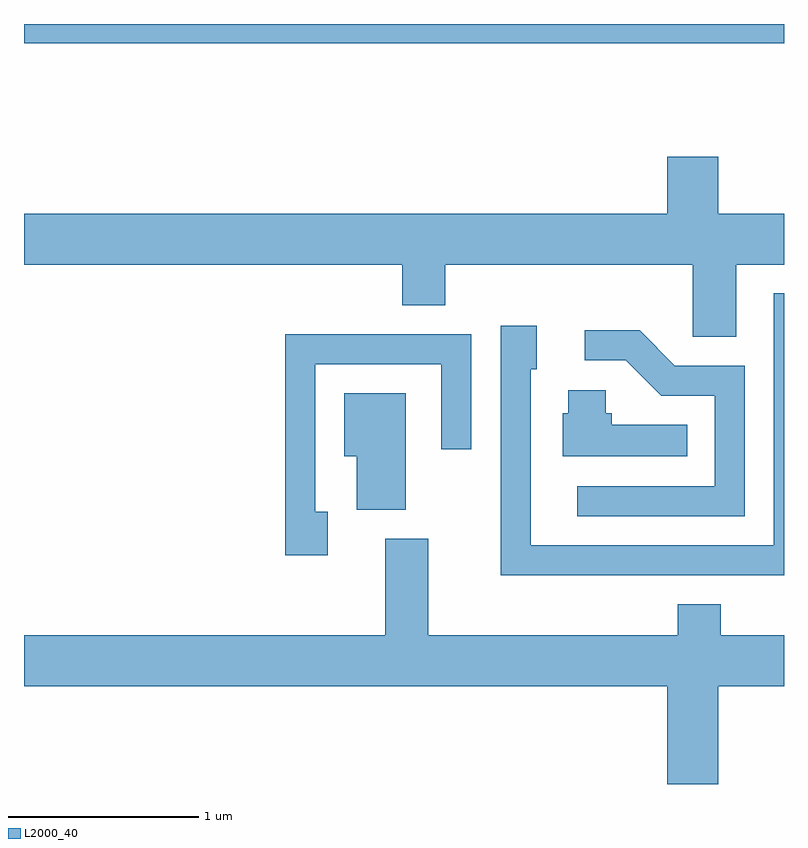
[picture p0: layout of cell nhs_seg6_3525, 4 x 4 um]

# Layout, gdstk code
import gdstk
lib = gdstk.Library(unit=1e-6, precision=1e-09)
def R(c, l, rs):  # rectangles x0, y0, x1, y1
    for r in rs: c.add(gdstk.rectangle(r[:2], r[2:], *l))
def P(c, l, *ps):  # polygons
    for p in ps: c.add(gdstk.Polygon(p, *l))
L2000_40 = (2000, 40)

nhs_seg6_3525 = lib.new_cell('nhs_seg6_3525')
R(nhs_seg6_3525, L2000_40, [(291.611,1580.061,295.611,1580.162)])
P(nhs_seg6_3525, L2000_40, [(291.611,1578.896),(293.601,1578.896),(293.601,1578.681),(293.829,1578.681),(293.829,1578.896),(295.131,1578.896),(295.131,1578.516),(295.359,1578.516),(295.359,1578.896),(295.611,1578.896),(295.611,1579.164),(295.264,1579.164),(295.264,1579.464),(294.996,1579.464),(294.996,1579.164),(291.611,1579.164)],
  [(295.611,1578.744),(295.556,1578.744),(295.556,1577.419),(294.279,1577.419),(294.279,1578.346),(294.309,1578.346),(294.309,1578.574),(294.121,1578.574),(294.121,1577.261),(295.611,1577.261)],
  [(295.404,1578.364),(295.037,1578.364),(294.852,1578.549),(294.563,1578.549),(294.563,1578.391),(294.779,1578.391),(294.964,1578.206),(295.246,1578.206),(295.246,1577.729),(294.523,1577.729),(294.523,1577.571),(295.404,1577.571)],
  [(293.209,1577.594),(293.144,1577.594),(293.144,1578.371),(293.806,1578.371),(293.806,1577.923),(293.964,1577.923),(293.964,1578.529),(292.986,1578.529),(292.986,1577.366),(293.209,1577.366)],
  [(295.103,1578.054),(294.704,1578.054),(294.704,1578.114),(294.674,1578.114),(294.674,1578.234),(294.476,1578.234),(294.476,1578.114),(294.446,1578.114),(294.446,1577.886),(295.103,1577.886)],
  [(293.619,1578.219),(293.296,1578.219),(293.296,1577.886),(293.361,1577.886),(293.361,1577.606),(293.619,1577.606)],
  [(295.264,1576.676),(295.611,1576.676),(295.611,1576.944),(295.279,1576.944),(295.279,1577.109),(295.051,1577.109),(295.051,1576.944),(293.739,1576.944),(293.739,1577.454),(293.511,1577.454),(293.511,1576.944),(291.611,1576.944),(291.611,1576.676),(294.996,1576.676),(294.996,1576.162),(295.264,1576.162)])

lib.write_gds('nhs_seg6_3525.gds')
